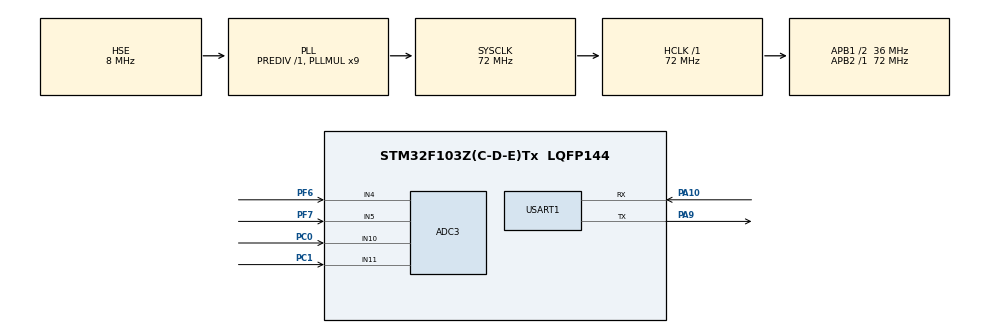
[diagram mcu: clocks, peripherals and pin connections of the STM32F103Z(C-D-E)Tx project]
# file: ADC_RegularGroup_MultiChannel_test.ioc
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ADC3.Channel-0\#ChannelRegularConversion=ADC_CHANNEL_11
ADC3.Channel-1\#ChannelRegularConversion=ADC_CHANNEL_10
ADC3.Channel-2\#ChannelRegularConversion=ADC_CHANNEL_5
ADC3.Channel-3\#ChannelRegularConversion=ADC_CHANNEL_4
ADC3.ContinuousConvMode=ENABLE
ADC3.NbrOfConversion=4
ADC3.NbrOfConversionFlag=1
ADC3.Rank-0\#ChannelRegularConversion=1
ADC3.Rank-1\#ChannelRegularConversion=2
ADC3.Rank-2\#ChannelRegularConversion=3
ADC3.Rank-3\#ChannelRegularConversion=4
ADC3.SamplingTime-0\#ChannelRegularConversion=ADC_SAMPLETIME_1CYCLE_5
ADC3.SamplingTime-1\#ChannelRegularConversion=ADC_SAMPLETIME_1CYCLE_5
ADC3.SamplingTime-2\#ChannelRegularConversion=ADC_SAMPLETIME_1CYCLE_5
ADC3.SamplingTime-3\#ChannelRegularConversion=ADC_SAMPLETIME_1CYCLE_5
Dma.ADC3.0.Direction=DMA_PERIPH_TO_MEMORY
Dma.ADC3.0.Instance=DMA2_Channel5
Dma.ADC3.0.MemDataAlignment=DMA_MDATAALIGN_HALFWORD
Dma.ADC3.0.MemInc=DMA_MINC_ENABLE
Dma.ADC3.0.Mode=DMA_CIRCULAR
Dma.ADC3.0.PeriphDataAlignment=DMA_PDATAALIGN_HALFWORD
Dma.ADC3.0.PeriphInc=DMA_PINC_DISABLE
Dma.ADC3.0.Priority=DMA_PRIORITY_LOW
Dma.Request0=ADC3
Mcu.Family=STM32F1
Mcu.Name=STM32F103Z(C-D-E)Tx
Mcu.Package=LQFP144
NVIC.DMA2_Channel4_5_IRQn=true\:0\:0\:false\:false\:true\:false\:true\:true
NVIC.PriorityGroup=NVIC_PRIORITYGROUP_4
OSC_IN.Mode=HSE-External-Oscillator
OSC_IN.Signal=RCC_OSC_IN
OSC_OUT.Mode=HSE-External-Oscillator
OSC_OUT.Signal=RCC_OSC_OUT
PA10.Mode=Asynchronous
PA10.Signal=USART1_RX
PA13.Mode=Serial_Wire
PA13.Signal=SYS_JTMS-SWDIO
PA14.Mode=Serial_Wire
PA14.Signal=SYS_JTCK-SWCLK
PA9.Mode=Asynchronous
PA9.Signal=USART1_TX
PC0.Signal=ADCx_IN10
PC1.Signal=ADCx_IN11
PF6.Mode=IN4
PF6.Signal=ADC3_IN4
PF7.Mode=IN5
PF7.Signal=ADC3_IN5
ProjectManager.HeapSize=0x200
ProjectManager.StackSize=0x400
ProjectManager.TargetToolchain=MDK-ARM V5.32
RCC.ADCPresc=RCC_ADCPCLK2_DIV6
RCC.AHBFreq_Value=72000000
RCC.APB1CLKDivider=RCC_HCLK_DIV2
RCC.APB1Freq_Value=36000000
RCC.APB1TimFreq_Value=72000000
RCC.APB2Freq_Value=72000000
RCC.APB2TimFreq_Value=72000000
RCC.HCLKFreq_Value=72000000
RCC.PLLMUL=RCC_PLL_MUL9
RCC.PLLSourceVirtual=RCC_PLLSOURCE_HSE
RCC.SYSCLKFreq_VALUE=72000000
RCC.SYSCLKSource=RCC_SYSCLKSOURCE_PLLCLK
RCC.USBFreq_Value=72000000
SH.ADCx_IN10.0=ADC3_IN10,IN10
SH.ADCx_IN11.0=ADC3_IN11,IN11
USART1.Parity=PARITY_ODD
USART1.VirtualMode=VM_ASYNC
USART1.WordLength=WORDLENGTH_9B
board=custom

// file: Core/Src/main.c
/* USER CODE BEGIN Header */
/**
 ******************************************************************************
 * @file           : main.c
 * @brief          : Main program body
 ******************************************************************************
 * @attention
 *
 * Copyright (c) 2026 STMicroelectronics.
 * All rights reserved.
 *
 * This software is licensed under terms that can be found in the LICENSE file
 * in the root directory of this software component.
 * If no LICENSE file comes with this software, it is provided AS-IS.
 *
 ******************************************************************************
 */
/* USER CODE END Header */
#include "main.h"
#include "adc.h"
#include "dma.h"
#include "usart.h"
#include "gpio.h"

/* USER CODE BEGIN Includes */
#include "BSP_Usart_Redir.h"
#include <stdbool.h>
/* USER CODE END Includes */

/* USER CODE BEGIN PV */
volatile bool adc_conversion_complete = false;
volatile bool adc_conversion_half_complete = false;

/* USER CODE END PV */

void SystemClock_Config(void);
/* USER CODE BEGIN PFP */
//static void ADC_Read_MultiChannel_Block(ADC_HandleTypeDef *hadc, uint32_t *pData, uint32_t Length);
static float ADC_Value_To_Voltage(uint32_t adc_value);
//static void ADC_Read_multiChannel_Block_Test();
/* USER CODE END PFP */

int main(void)
{

  /* MCU Configuration--------------------------------------------------------*/

  /* Reset of all peripherals, Initializes the Flash interface and the Systick. */
  HAL_Init();

  /* Configure the system clock */
  SystemClock_Config();

  /* Initialize all configured peripherals */
  MX_GPIO_Init();
  MX_DMA_Init();
  MX_ADC3_Init();
  MX_USART1_UART_Init();
  /* USER CODE BEGIN 2 */
  BSP_Usart_Init(&huart1);
  /* USER CODE END 2 */

  /* Infinite loop */
  /* USER CODE BEGIN WHILE */
  volatile uint16_t adc_values[8] = {0};
  const char *channel_names[] = {
      "ADC3 Channel 11",
      "ADC3 Channel 10",
      "ADC3 Channel 5",
      "ADC3 Channel 4"};
  HAL_ADCEx_Calibration_Start(&hadc3);
  HAL_ADC_Start_DMA(&hadc3, (uint32_t *)adc_values, 8);
  while (1)
  {
    if (adc_conversion_half_complete)
    {
      adc_conversion_half_complete = false; // Reset the flag
      // Process the ADC data here
      printf("Half Conversion Complete:\r\n");
      for (uint32_t i = 0; i < 4; i++)
      {
        float voltage = ADC_Value_To_Voltage(adc_values[i]);
        printf("%s: ADC Value = %d, Voltage = %.2f V\r\n", channel_names[i], adc_values[i], voltage);
      }
      //HAL_ADC_Start_DMA(&hadc3, (uint32_t *)adc_values, 4);
    }
    if (adc_conversion_complete)
    {
      adc_conversion_complete = false; // Reset the flag
      // Process the ADC data here
      printf("Full Conversion Complete:\r\n");
      for (uint32_t i = 0; i < 4; i++)
      {
        float voltage = ADC_Value_To_Voltage(adc_values[i + 4]);
        printf("%s: ADC Value = %d, Voltage = %.2f V\r\n", channel_names[i], adc_values[i + 4], voltage);
      }
      //HAL_ADC_Start_DMA(&hadc3, (uint32_t *)adc_values, 4);
    }
    HAL_Delay(1000); // Delay for 1 second
    // ADC_Read_multiChannel_Block_Test();
    // HAL_Delay(1000); // Delay for 1 second
    /* USER CODE END WHILE */

  }
}

void SystemClock_Config(void)
{
  RCC_OscInitTypeDef RCC_OscInitStruct = {0};
  RCC_ClkInitTypeDef RCC_ClkInitStruct = {0};
  RCC_PeriphCLKInitTypeDef PeriphClkInit = {0};

  /** Initializes the RCC Oscillators according to the specified parameters
  * in the RCC_OscInitTypeDef structure.
  */
  RCC_OscInitStruct.OscillatorType = RCC_OSCILLATORTYPE_HSE;
  RCC_OscInitStruct.HSEState = RCC_HSE_ON;
  RCC_OscInitStruct.HSEPredivValue = RCC_HSE_PREDIV_DIV1;
  RCC_OscInitStruct.HSIState = RCC_HSI_ON;
  RCC_OscInitStruct.PLL.PLLState = RCC_PLL_ON;
  RCC_OscInitStruct.PLL.PLLSource = RCC_PLLSOURCE_HSE;
  RCC_OscInitStruct.PLL.PLLMUL = RCC_PLL_MUL9;
  if (HAL_RCC_OscConfig(&RCC_OscInitStruct) != HAL_OK)
  {
    Error_Handler();
  }

  /** Initializes the CPU, AHB and APB buses clocks
  */
  RCC_ClkInitStruct.ClockType = RCC_CLOCKTYPE_HCLK|RCC_CLOCKTYPE_SYSCLK
                              |RCC_CLOCKTYPE_PCLK1|RCC_CLOCKTYPE_PCLK2;
  RCC_ClkInitStruct.SYSCLKSource = RCC_SYSCLKSOURCE_PLLCLK;
  RCC_ClkInitStruct.AHBCLKDivider = RCC_SYSCLK_DIV1;
  RCC_ClkInitStruct.APB1CLKDivider = RCC_HCLK_DIV2;
  RCC_ClkInitStruct.APB2CLKDivider = RCC_HCLK_DIV1;

  if (HAL_RCC_ClockConfig(&RCC_ClkInitStruct, FLASH_LATENCY_2) != HAL_OK)
  {
    Error_Handler();
  }
  PeriphClkInit.PeriphClockSelection = RCC_PERIPHCLK_ADC;
  PeriphClkInit.AdcClockSelection = RCC_ADCPCLK2_DIV6;
  if (HAL_RCCEx_PeriphCLKConfig(&PeriphClkInit) != HAL_OK)
  {
    Error_Handler();
  }
}

/* USER CODE BEGIN 4 */
static void ADC_Read_MultiChannel_Block(ADC_HandleTypeDef *hadc, uint32_t *pData, uint32_t Length)
{
  for (uint32_t i = 0; i < Length; i++)
  {
    // 启动ADC转换
    HAL_ADC_Start(hadc);

    // 等待转换完成
    HAL_ADC_PollForConversion(hadc, 100);

    // 读取转换结果
    pData[i] = HAL_ADC_GetValue(hadc);
  }
  HAL_ADC_Stop(hadc); // 停止ADC转换
}
static float ADC_Value_To_Voltage(uint32_t adc_value)
{
  return (adc_value * 3.3f) / 4096.0f; // Assuming a 12-bit ADC and a reference voltage of 3.3V
}
static void ADC_Read_multiChannel_Block_Test()
{
  uint32_t adc_values[4] = {0};
  uint32_t num = sizeof(adc_values) / sizeof(adc_values[0]);
  ADC_Read_MultiChannel_Block(&hadc3, adc_values, num);

  const char *channel_names[] = {
      "ADC3 Channel 11",
      "ADC3 Channel 10",
      "ADC3 Channel 5",
      "ADC3 Channel 4"};

  for (uint32_t i = 0; i < num; i++)
  {
    float voltage = ADC_Value_To_Voltage(adc_values[i]);
    printf("%s: ADC Value = %lu, Voltage = %.2f V\r\n", channel_names[i], adc_values[i], voltage);
  }
}
void HAL_ADC_ConvCpltCallback(ADC_HandleTypeDef *hadc)
{
  if (hadc->Instance == ADC3)
  {
    adc_conversion_complete = true;
  }
}
void HAL_ADC_ConvHalfCpltCallback(ADC_HandleTypeDef *hadc)
{
  if (hadc->Instance == ADC3)
  {
    adc_conversion_half_complete = true;
  }
}
/* USER CODE END 4 */

void Error_Handler(void)
{
  __disable_irq();
  while (1)
  {
  }
}
